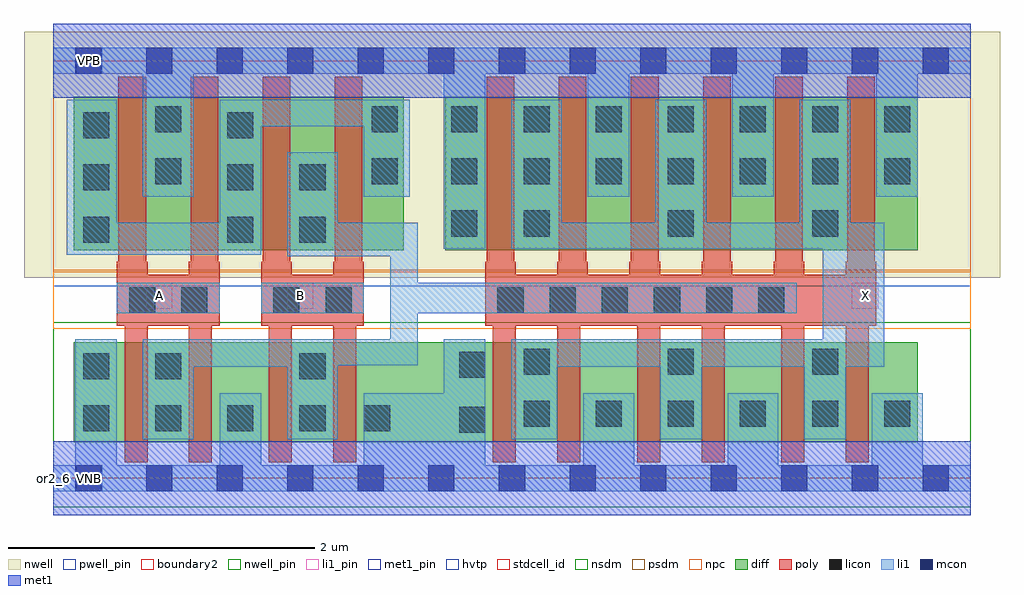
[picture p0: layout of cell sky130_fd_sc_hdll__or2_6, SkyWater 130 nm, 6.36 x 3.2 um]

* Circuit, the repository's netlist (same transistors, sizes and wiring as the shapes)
* Copyright 2020 The SkyWater PDK Authors
*
* Licensed under the Apache License, Version 2.0 (the "License");
* you may not use this file except in compliance with the License.
* You may obtain a copy of the License at
*
*     https://www.apache.org/licenses/LICENSE-2.0
*
* Unless required by applicable law or agreed to in writing, software
* distributed under the License is distributed on an "AS IS" BASIS,
* WITHOUT WARRANTIES OR CONDITIONS OF ANY KIND, either express or implied.
* See the License for the specific language governing permissions and
* limitations under the License.
*
* SPDX-License-Identifier: Apache-2.0

.SUBCKT sky130_fd_sc_hdll__or2_6 A B VGND VNB VPB VPWR X
*.PININFO A:I B:I VGND:I VNB:I VPB:I VPWR:I X:O
MMP0 VPWR A sndPA VPB sky130_fd_pr__pfet_01v8_hvt m=2 w=1.0U l=0.18U mult=1 sa=0.265
+ sb=0.265 sd=0.28 area=0.063 perim=1.14
MMP1 sndPA B y VPB sky130_fd_pr__pfet_01v8_hvt m=2 w=1.0U l=0.18U mult=1 sa=0.265
+ sb=0.265 sd=0.28 area=0.063 perim=1.14
MMIP2 X y VPWR VPB sky130_fd_pr__pfet_01v8_hvt m=6 w=1.0U l=0.18U mult=1 sa=0.265
+ sb=0.265 sd=0.28 area=0.063 perim=1.14
MMN0 y A VGND VNB sky130_fd_pr__nfet_01v8 m=2 w=0.65U l=0.15U mult=1 sa=0.265 sb=0.265
+ sd=0.28 area=0.063 perim=1.14
MMN1 y B VGND VNB sky130_fd_pr__nfet_01v8 m=2 w=0.65U l=0.15U mult=1 sa=0.265 sb=0.265
+ sd=0.28 area=0.063 perim=1.14
MMIN2 X y VGND VNB sky130_fd_pr__nfet_01v8 m=6 w=0.65U l=0.15U mult=1 sa=0.265
+ sb=0.265 sd=0.28 area=0.063 perim=1.14
.ENDS sky130_fd_sc_hdll__or2_6

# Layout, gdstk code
import gdstk
lib = gdstk.Library(unit=1e-6, precision=1e-09)
def R(c, l, rs):  # rectangles x0, y0, x1, y1
    for r in rs: c.add(gdstk.rectangle(r[:2], r[2:], *l))
def A(c, l, x, y, w, h, nx, ny, dx, dy):  # array of equal rectangles
    R(c, l, [(x+i*dx, y+j*dy, x+i*dx+w, y+j*dy+h) for i in range(nx) for j in range(ny)])
def P(c, l, *ps):  # polygons
    for p in ps: c.add(gdstk.Polygon(p, *l))
nwell_pin = (64, 16)
nwell = (64, 20)
diff = (65, 20)
poly = (66, 20)
licon = (66, 44)
li1_pin = (67, 16)
li1 = (67, 20)
mcon = (67, 44)
met1_pin = (68, 16)
met1 = (68, 20)
hvtp = (78, 44)
stdcell_id = (81, 4)
nsdm = (93, 44)
psdm = (94, 20)
npc = (95, 20)
pwell_pin = (122, 16)
boundary2 = (236, 0)

sky130_fd_sc_hdll__or2_6 = lib.new_cell('sky130_fd_sc_hdll__or2_6')
R(sky130_fd_sc_hdll__or2_6, nwell_pin, [(0.15,2.635,0.32,2.805)])
R(sky130_fd_sc_hdll__or2_6, nwell, [(-0.19,1.305,6.17,2.91)])
R(sky130_fd_sc_hdll__or2_6, diff, [(0.135,0.235,5.635,0.885), (0.135,1.485,2.285,2.485), (2.555,1.485,5.635,2.485)])
P(sky130_fd_sc_hdll__or2_6, poly, [(5.365,1.41),(5.355,1.41),(5.355,2.615),(5.175,2.615),(5.175,1.41),(5.165,1.41),(5.165,1.325),(4.895,1.325),(4.895,1.41),(4.885,1.41),(4.885,2.615),(4.705,2.615),(4.705,1.41),(4.695,1.41),(4.695,1.325),(4.425,1.325),(4.425,1.41),(4.415,1.41),(4.415,2.615),(4.235,2.615),(4.235,1.41),(4.225,1.41),(4.225,1.325),(3.955,1.325),(3.955,1.41),(3.945,1.41),(3.945,2.615),(3.765,2.615),(3.765,1.41),(3.755,1.41),(3.755,1.325),(3.485,1.325),(3.485,1.41),(3.475,1.41),(3.475,2.615),(3.295,2.615),(3.295,1.41),(3.285,1.41),(3.285,1.325),(3.015,1.325),(3.015,1.41),(3.005,1.41),(3.005,2.615),(2.825,2.615),(2.825,1.41),(2.815,1.41),(2.815,0.995),(2.865,0.995),(2.865,0.105),(3.015,0.105),(3.015,0.995),(3.285,0.995),(3.285,0.105),(3.435,0.105),(3.435,0.995),(3.805,0.995),(3.805,0.105),(3.955,0.105),(3.955,0.995),(4.225,0.995),(4.225,0.105),(4.375,0.105),(4.375,0.995),(4.745,0.995),(4.745,0.105),(4.895,0.105),(4.895,0.995),(5.165,0.995),(5.165,0.105),(5.315,0.105),(5.315,0.995),(5.365,0.995)],
  [(2.025,1.41),(2.015,1.41),(2.015,2.615),(1.835,2.615),(1.835,1.41),(1.825,1.41),(1.825,1.325),(1.555,1.325),(1.555,1.41),(1.545,1.41),(1.545,2.615),(1.365,2.615),(1.365,1.41),(1.355,1.41),(1.355,0.995),(1.405,0.995),(1.405,0.105),(1.555,0.105),(1.555,0.995),(1.825,0.995),(1.825,0.105),(1.975,0.105),(1.975,0.995),(2.025,0.995)],
  [(1.085,1.41),(1.075,1.41),(1.075,2.615),(0.895,2.615),(0.895,1.41),(0.885,1.41),(0.885,1.325),(0.615,1.325),(0.615,1.41),(0.605,1.41),(0.605,2.615),(0.425,2.615),(0.425,1.41),(0.415,1.41),(0.415,0.995),(0.465,0.995),(0.465,0.105),(0.615,0.105),(0.615,0.995),(0.885,0.995),(0.885,0.105),(1.035,0.105),(1.035,0.995),(1.085,0.995)])
A(sky130_fd_sc_hdll__or2_6, licon, 0.195, 0.305, 0.17, 0.17, 4, 1, 0.47, 0)
A(sky130_fd_sc_hdll__or2_6, licon, 3.065, 0.335, 0.17, 0.17, 6, 1, 0.47, 0)
A(sky130_fd_sc_hdll__or2_6, licon, 3.065, 0.675, 0.17, 0.17, 3, 2, 0.94, 0.9)
A(sky130_fd_sc_hdll__or2_6, licon, 2.895, 1.075, 0.17, 0.17, 6, 1, 0.34, 0)
A(sky130_fd_sc_hdll__or2_6, licon, 0.195, 1.535, 0.17, 0.17, 1, 3, 0, 0.34)
A(sky130_fd_sc_hdll__or2_6, licon, 1.135, 1.535, 0.17, 0.17, 1, 3, 0, 0.34)
A(sky130_fd_sc_hdll__or2_6, licon, 2.595, 1.915, 0.17, 0.17, 7, 2, 0.47, 0.34)
R(sky130_fd_sc_hdll__or2_6, licon, [(2.645,0.295,2.815,0.465), (2.025,0.305,2.195,0.475), (0.195,0.645,0.365,0.815), (0.665,0.645,0.835,0.815), (1.605,0.645,1.775,0.815), (2.645,0.655,2.815,0.825), (0.495,1.075,0.665,1.245), (0.835,1.075,1.005,1.245), (1.435,1.075,1.605,1.245), (1.775,1.075,1.945,1.245), (1.605,1.535,1.775,1.705), (2.595,1.575,2.765,1.745), (1.605,1.875,1.775,2.045), (0.665,1.915,0.835,2.085), (2.075,1.915,2.245,2.085), (0.665,2.255,0.835,2.425), (2.075,2.255,2.245,2.425)])
R(sky130_fd_sc_hdll__or2_6, li1_pin, [(0.605,1.105,0.775,1.275), (1.525,1.105,1.695,1.275), (5.205,1.105,5.375,1.275)])
R(sky130_fd_sc_hdll__or2_6, li1, [(0.415,1.075,1.085,1.275), (1.355,1.075,2.025,1.275)])
P(sky130_fd_sc_hdll__or2_6, li1, [(5.98,0.085),(5.665,0.085),(5.665,0.555),(5.335,0.555),(5.335,0.085),(4.725,0.085),(4.725,0.555),(4.395,0.555),(4.395,0.085),(3.785,0.085),(3.785,0.555),(3.455,0.555),(3.455,0.085),(2.815,0.085),(2.815,0.905),(2.545,0.905),(2.545,0.555),(2.025,0.555),(2.025,0.085),(1.355,0.085),(1.355,0.555),(1.085,0.555),(1.085,0.085),(0.415,0.085),(0.415,0.905),(0.145,0.905),(0.145,0.085),(0,0.085),(0,-0.085),(5.98,-0.085)],
  [(5.98,2.805),(0,2.805),(0,2.635),(0.585,2.635),(0.585,1.835),(0.915,1.835),(0.915,2.635),(2.545,2.635),(2.545,1.495),(2.815,1.495),(2.815,2.635),(3.485,2.635),(3.485,1.835),(3.755,1.835),(3.755,2.635),(4.425,2.635),(4.425,1.835),(4.695,1.835),(4.695,2.635),(5.365,2.635),(5.365,1.835),(5.635,1.835),(5.635,2.635),(5.98,2.635)],
  [(5.415,1.665),(5.195,1.665),(5.195,2.465),(4.865,2.465),(4.865,1.665),(4.255,1.665),(4.255,2.465),(3.925,2.465),(3.925,1.665),(3.315,1.665),(3.315,2.465),(2.985,2.465),(2.985,1.495),(5.015,1.495),(5.015,0.905),(2.985,0.905),(2.985,0.255),(3.285,0.255),(3.285,0.725),(3.955,0.725),(3.955,0.255),(4.225,0.255),(4.225,0.725),(4.895,0.725),(4.895,0.255),(5.165,0.255),(5.165,0.725),(5.415,0.725)],
  [(4.845,1.275),(2.375,1.275),(2.375,1.665),(1.855,1.665),(1.855,2.125),(1.525,2.125),(1.525,1.445),(2.195,1.445),(2.195,0.905),(0.585,0.905),(0.585,0.255),(0.915,0.255),(0.915,0.725),(1.525,0.725),(1.525,0.255),(1.855,0.255),(1.855,0.735),(2.375,0.735),(2.375,1.075),(4.845,1.075)],
  [(2.325,2.465),(1.085,2.465),(1.085,1.665),(0.415,1.665),(0.415,2.465),(0.09,2.465),(0.09,1.455),(1.355,1.455),(1.355,2.295),(2.025,2.295),(2.025,1.835),(2.325,1.835)])
A(sky130_fd_sc_hdll__or2_6, mcon, 0.145, -0.085, 0.17, 0.17, 13, 2, 0.46, 2.72)
R(sky130_fd_sc_hdll__or2_6, met1_pin, [(0.15,-0.085,0.32,0.085), (0.15,2.635,0.32,2.805)])
R(sky130_fd_sc_hdll__or2_6, met1, [(0,-0.24,5.98,0.24), (0,2.48,5.98,2.96)])
R(sky130_fd_sc_hdll__or2_6, hvtp, [(0,1.25,5.98,2.72)])
R(sky130_fd_sc_hdll__or2_6, stdcell_id, [(0,0,5.98,2.72)])
R(sky130_fd_sc_hdll__or2_6, nsdm, [(0,-0.19,5.98,1.015)])
R(sky130_fd_sc_hdll__or2_6, psdm, [(0,1.355,5.98,2.91)])
R(sky130_fd_sc_hdll__or2_6, npc, [(0,0.975,5.98,1.345)])
R(sky130_fd_sc_hdll__or2_6, pwell_pin, [(0.15,-0.085,0.32,0.085)])
R(sky130_fd_sc_hdll__or2_6, boundary2, [(0,0,5.98,2.72)])
sky130_fd_sc_hdll__or2_6.add(gdstk.Label('X', (5.295,1.19), layer=67, texttype=5))
sky130_fd_sc_hdll__or2_6.add(gdstk.Label('A', (0.695,1.19), layer=67, texttype=5))
sky130_fd_sc_hdll__or2_6.add(gdstk.Label('B', (1.615,1.19), layer=67, texttype=5))
sky130_fd_sc_hdll__or2_6.add(gdstk.Label('VNB', (0.235,0), layer=64, texttype=59))
sky130_fd_sc_hdll__or2_6.add(gdstk.Label('VPB', (0.235,2.72), layer=64, texttype=5))
sky130_fd_sc_hdll__or2_6.add(gdstk.Label('VGND', (0.23,0), layer=68, texttype=5))
sky130_fd_sc_hdll__or2_6.add(gdstk.Label('VPWR', (0.235,2.72), layer=68, texttype=5))
sky130_fd_sc_hdll__or2_6.add(gdstk.Label('or2_6', (0,0), layer=83, texttype=44))

lib.write_gds('sky130_fd_sc_hdll__or2_6.gds')
